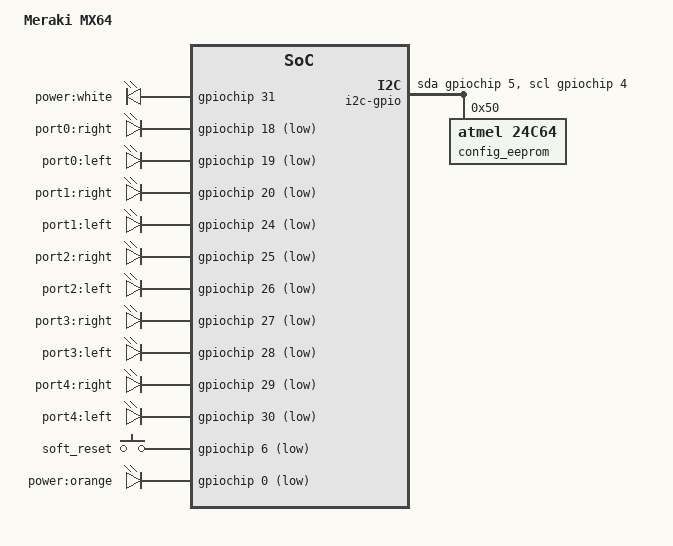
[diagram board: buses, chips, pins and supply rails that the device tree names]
/*
 * Copyright (C) 2014 Meraki, Inc.
 *
 * This program is free software; you can redistribute it and/or modify
 * it under the terms of the GNU General Public License version 2 as
 * published by the Free Software Foundation.
 */

/include/ "wired-arm-nsp.dtsi"

/ {
        model = "Meraki MX64";
        compatible = "meraki,mx6p", "meraki,kingpin", "meraki,wired-arm-nsp","broadcom,iproc", "bcm,iproc";

        leds {
                compatible = "gpio-leds";
                white {
                        label = "power:white";
                        gpios = <&gpiochip 31 0>;
                        default-state = "off";
                };


                port0right {
                        label = "port0:right";
                        gpios = <&gpiochip 18 1>;
                        default-state = "off";
                };
                port0left {
                        label = "port0:left";
                        gpios = <&gpiochip 19 1>;
                        default-state = "off";
                };
                port1right {
                        label = "port1:right";
                        gpios = <&gpiochip 20 1>;
                        default-state = "off";
                };
                port1left {
                        label = "port1:left";
                        gpios = <&gpiochip 24 1>;
                        default-state = "off";
                };
                port2right {
                        label = "port2:right";
                        gpios = <&gpiochip 25 1>;
                        default-state = "off";
                };
                port2left {
                        label = "port2:left";
                        gpios = <&gpiochip 26 1>;
                        default-state = "off";
                };
                port3right {
                        label = "port3:right";
                        gpios = <&gpiochip 27 1>;
                        default-state = "off";
                };
                port3left {
                        label = "port3:left";
                        gpios = <&gpiochip 28 1>;
                        default-state = "off";
                };
                port4right {
                        label = "port4:right";
                        gpios = <&gpiochip 29 1>;
                        default-state = "off";
                };
                port4left {
                        label = "port4:left";
                        gpios = <&gpiochip 30 1>;
                        default-state = "off";
                };
        };

        gpio-cfg {
                compatible = "iproc-gpio-cfg";
                gpios-general = <0 1 2 3 4 5 6 7 16 17 21 22 23 24 25 26 27 28 29 30 31>;
                gpios-aux = <32 33 34 35>;
                gpios-export = <1 0>, <16 1>, <17 1>;
                gpio-reset = <7 1>;
        };

        i2c-gpio {
            #address-cells = <1>;
            #size-cells = <0>;
            compatible = "i2c-gpio";
            gpios = <&gpiochip 5 0 /* sda  */
                 &gpiochip 4 0>; /* scl  */
            i2c-gpio,delay-us = <10>;   /* ~100 kHz  */

            config_eeprom: at24@50 {
                compatible = "atmel,24c64";
                pagesize = <32>;
                reg = <0x50>;
            };

        };

        gpio-buttons {
                compatible = "gpio-keys-polled";
                autorepeat;
                poll-interval = <20>;
                button@1 {
                        label = "soft_reset";
                        linux,code = <0x198>;     // EV_RESTART
                        linux,input-type = <1>;   // EV_KEY
                        debounce-interval = <60>;
                        gpios = <&gpiochip 6 1>;
                };
        };

        power_led {
                compatible = "gpio-leds";
                orange {
                        label = "power:orange";
                        gpios = <&gpiochip 0 1>;
                        default-state = "on";
                };
        };
};
